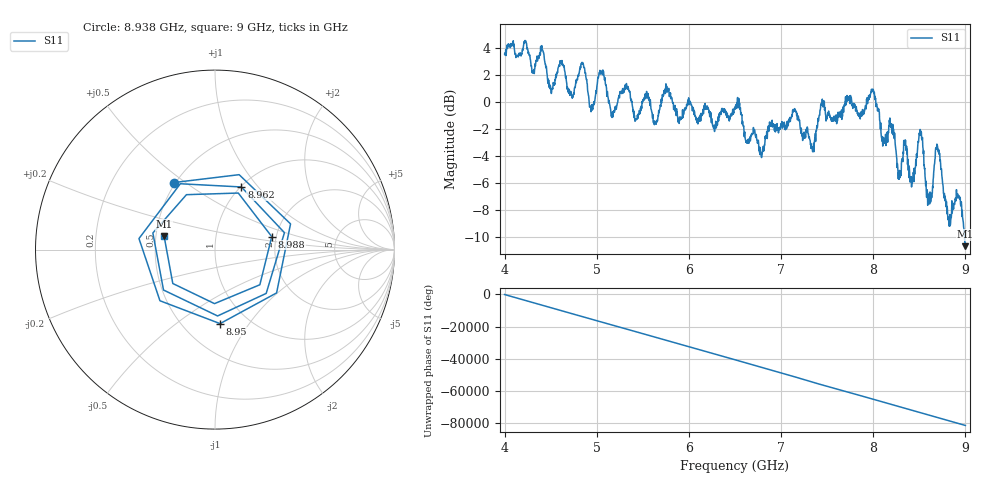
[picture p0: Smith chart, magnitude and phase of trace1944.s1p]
! Created with skrf 1.8.0 (http://scikit-rf.org).
# Hz S RI R 50.0
!freq ReS11 ImS11
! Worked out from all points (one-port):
!   1601 points, 4 GHz to 9 GHz, reference 50 ohm
!   lowest |S11| = -10.7 dB at 9 GHz (marker M1), VSWR 1.83, Z = 27.6 + j4.53 ohm
!   |S11| at or under -10 dB: 8.991231 GHz to end of sweep
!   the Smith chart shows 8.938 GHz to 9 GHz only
!   S11 on the Smith chart (normalised r, x): 8.938 GHz: 0.49, +0.45; 8.95 GHz: 0.74, -0.74; 8.962 GHz: 1.01, +0.82; 8.988 GHz: 1.89, +0.31; 9 GHz: 0.55, +0.09
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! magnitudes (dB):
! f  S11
! 4 GHz  3.6
! 4.625 GHz  2.8
! 4.728 GHz  0.5
! 4.853 GHz  2.9
! 4.941 GHz  -0.5
! 5.047 GHz  2.1
! 5.169 GHz  -0.8
! 5.25 GHz  0.8
! 5.875 GHz  -1.0
! 6.5 GHz  -0.3
! 6.791 GHz  -3.9
! 7.125 GHz  -0.6
! 7.338 GHz  -3.3
! 7.444 GHz  0.0
! 7.75 GHz  -0.1
! 8 GHz  1.0
! 8.278 GHz  -5.3
! 8.375 GHz  -4.2
! 8.425 GHz  -5.6
! 8.512 GHz  -2.2
! 8.6 GHz  -7.0
! 8.697 GHz  -3.2
! 8.822 GHz  -9.1
! 8.938 GHz  -7.2
! 8.95 GHz  -7.7
! 8.962 GHz  -8.4
! 8.988 GHz  -9.8
! 9 GHz  -10.7
